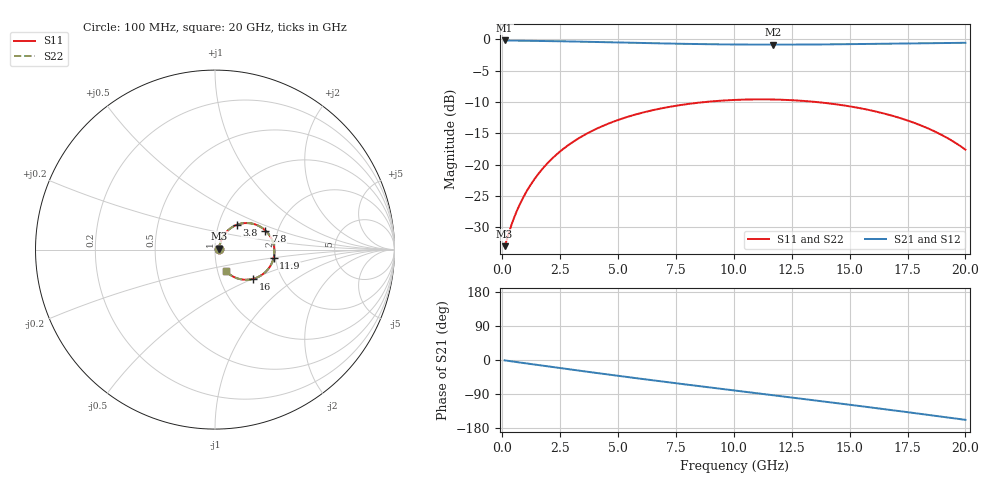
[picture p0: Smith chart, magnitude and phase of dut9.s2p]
! Touchstone file exported from HFSS 2026.1.0
!  File:  C:/ffzhzh/LocalFiles/Ansys_Project_Files/temp_train_TSV_RDL_9_1782960864_45748.aedt
!  Generated:  11:08:41 AM Jul  2, 2026
!  Design:  TSV_RDL
!  Project:  temp_train_TSV_RDL_9_1782960864_45748
! Variables:
!  h_bsmrdl = 3.88um
!  h_ox = 20um
!  h_rdl = 5um
!  h_sub = 71.71um
!  h_tmrdl = 2.52um
!  h_tsv = 71.71um
!  h_via = 3um
!  l_bsmrdl = 382.45um
!  l_sub = 2589.07um
!  l_tmrdl = 226.95um
!  m_sub = 200um
!  pitch = 30.95um
!  r_tsv = 2.29um
!  s_tmrdl = 10um
!  w_bsmrdl = 21.42um
!  w_sub = 500um
!  w_tmrdl = 23.22um
!  x_tsv_center1 = 238.56um
!  x_tsv_center2 = 642.43um
!  x_tsv_center3 = 892.6um
!  x_tsv_center4 = 1296.47um
!  x_tsv_center5 = 1546.64um
!  x_tsv_center6 = 1950.51um
# GHz S MA R 50.000000
! Terminal data exported
! Port[1] = TM_RDL1_1_T1
! Port[2] = TM_RDL5_1_T1
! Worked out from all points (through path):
!   200 points, 100 MHz to 20 GHz, reference 50 ohm
!   highest |S21| = -0.19 dB at 100 MHz (marker M1); lowest = -0.9 dB at 11.7 GHz (marker M2)
!   group delay of S21, straight-line fit = 21.6 ps
!   lowest |S11| = -33.0 dB at 100 MHz (marker M3), VSWR 1.05, Z = 52.2 + j0.627 ohm
!   |S11| at or under -10 dB: start of sweep to 8.81 GHz; 13.51 GHz to end of sweep
!   |S22| runs from -33.0 to -9.6 dB; largest |S21 - S12| = 1.9e-14
!   S11 on the Smith chart (normalised r, x): 100 MHz: 1.04, +0.01; 3.8 GHz: 1.22, +0.35; 7.8 GHz: 1.72, +0.40; 11.9 GHz: 1.95, -0.21; 16 GHz: 1.44, -0.50; 20 GHz: 1.09, -0.26
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0.1  0.02227 15.6  0.9786 -0.9  0.9786 -0.9  0.02227 15.6
! Gamma 0 0 0 0
! Port Impedance 50 0 50 0
0.4  0.03309 40.9  0.9761 -3.6  0.9761 -3.6  0.03309 40.9
0.7  0.04563 50.5  0.9743 -6.1  0.9743 -6.1  0.04563 50.5
1  0.05877 55.3  0.9729 -8.7  0.9729 -8.7  0.05877 55.3
1.4  0.07693 57.9  0.971 -12.0  0.971 -12.0  0.07694 57.9
1.8  0.09536 58.2  0.9688 -15.4  0.9688 -15.4  0.09537 58.2
2.3  0.1182 57.0  0.9657 -19.6  0.9657 -19.6  0.1182 57.0
3.5  0.1703 50.7  0.9565 -29.6  0.9565 -29.6  0.1703 50.7
3.8  0.1824 48.8  0.9539 -32.0  0.9539 -32.0  0.1824 48.8
5.2  0.2334 39.3  0.9412 -43.3  0.9412 -43.3  0.2334 39.3
6.8  0.279 27.9  0.9273 -55.9  0.9273 -55.9  0.279 27.9
7.8  0.3004 20.7  0.9198 -63.6  0.9198 -63.6  0.3004 20.7
10.1  0.3282 4.4  0.9085 -81.0  0.9085 -81.0  0.3282 4.4
11.7  0.3305 -6.9  0.9061 -93.0  0.9061 -93.0  0.3304 -6.9
11.9  0.3297 -8.3  0.9061 -94.5  0.9061 -94.5  0.3297 -8.4
13.4  0.3176 -18.9  0.9084 -105.8  0.9084 -105.8  0.3176 -19.0
14.7  0.2974 -28.1  0.9129 -115.7  0.9129 -115.7  0.2974 -28.2
16  0.2684 -37.3  0.919 -125.8  0.919 -125.8  0.2684 -37.4
16.7  0.2493 -42.3  0.9227 -131.3  0.9227 -131.3  0.2493 -42.3
18.5  0.1901 -54.6  0.9318 -145.7  0.9318 -145.7  0.1901 -54.6
19.3  0.1597 -59.6  0.9352 -152.2  0.9352 -152.2  0.1597 -59.7
20  0.1315 -63.5  0.9375 -157.9  0.9375 -157.9  0.1314 -63.6
